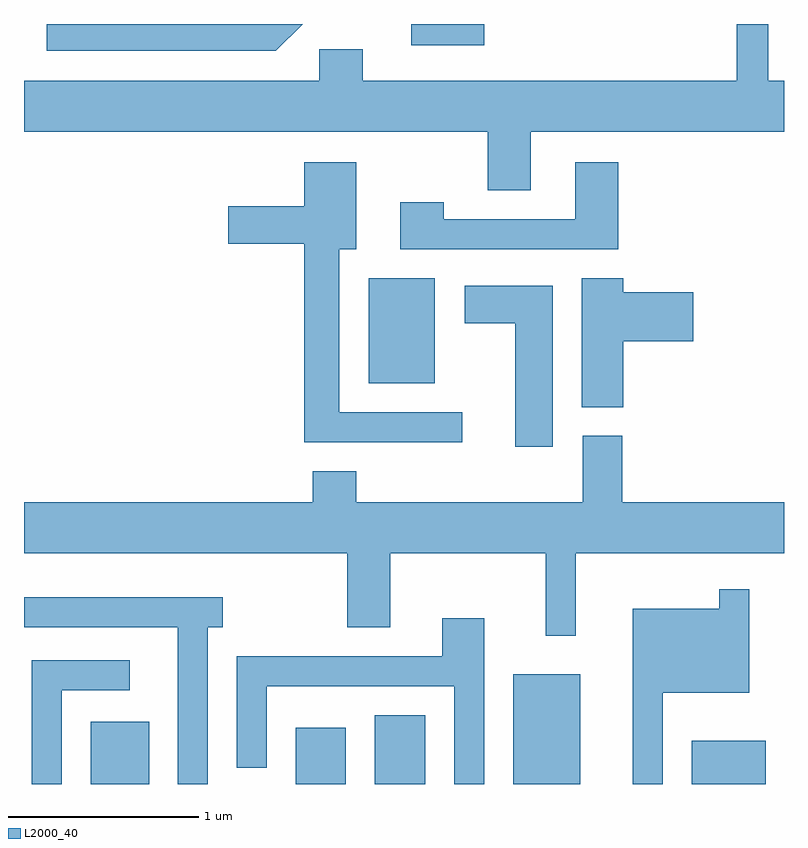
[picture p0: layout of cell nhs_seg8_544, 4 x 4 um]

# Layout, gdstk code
import gdstk
lib = gdstk.Library(unit=1e-6, precision=1e-09)
def R(c, l, rs):  # rectangles x0, y0, x1, y1
    for r in rs: c.add(gdstk.rectangle(r[:2], r[2:], *l))
def P(c, l, *ps):  # polygons
    for p in ps: c.add(gdstk.Polygon(p, *l))
L2000_40 = (2000, 40)

nhs_seg8_544 = lib.new_cell('nhs_seg8_544')
R(nhs_seg8_544, L2000_40, [(201.961,1806.342,202.269,1806.669), (203.041,1806.342,203.304,1806.639), (203.456,1806.342,203.724,1806.704), (204.186,1806.342,204.539,1806.919), (205.126,1806.342,205.514,1806.569), (203.426,1808.451,203.774,1809.004), (203.648,1810.231,204.034,1810.342)])
P(nhs_seg8_544, L2000_40, [(204.279,1809.776),(205.611,1809.776),(205.611,1810.044),(205.529,1810.044),(205.529,1810.342),(205.361,1810.342),(205.361,1810.044),(203.394,1810.044),(203.394,1810.209),(203.166,1810.209),(203.166,1810.044),(201.611,1810.044),(201.611,1809.776),(204.051,1809.776),(204.051,1809.466),(204.279,1809.466)],
  [(203.078,1810.342),(201.731,1810.342),(201.731,1810.201),(202.937,1810.201)],
  [(204.739,1809.614),(204.511,1809.614),(204.511,1809.314),(203.819,1809.314),(203.819,1809.404),(203.591,1809.404),(203.591,1809.156),(204.739,1809.156)],
  [(203.918,1808.299),(203.269,1808.299),(203.269,1809.156),(203.359,1809.156),(203.359,1809.614),(203.086,1809.614),(203.086,1809.384),(202.686,1809.384),(202.686,1809.186),(203.086,1809.186),(203.086,1808.141),(203.918,1808.141)],
  [(204.764,1808.671),(205.134,1808.671),(205.134,1808.929),(204.764,1808.929),(204.764,1809.004),(204.546,1809.004),(204.546,1808.326),(204.764,1808.326)],
  [(204.394,1808.964),(203.931,1808.964),(203.931,1808.766),(204.196,1808.766),(204.196,1808.116),(204.394,1808.116)],
  [(204.514,1807.556),(205.611,1807.556),(205.611,1807.824),(204.759,1807.824),(204.759,1808.174),(204.551,1808.174),(204.551,1807.824),(203.359,1807.824),(203.359,1807.989),(203.131,1807.989),(203.131,1807.824),(201.611,1807.824),(201.611,1807.556),(203.311,1807.556),(203.311,1807.166),(203.539,1807.166),(203.539,1807.556),(204.356,1807.556),(204.356,1807.123),(204.514,1807.123)],
  [(204.974,1806.821),(205.429,1806.821),(205.429,1807.368),(205.271,1807.368),(205.271,1807.264),(204.816,1807.264),(204.816,1806.342),(204.974,1806.342)],
  [(202.579,1807.166),(202.658,1807.166),(202.658,1807.324),(201.611,1807.324),(201.611,1807.166),(202.421,1807.166),(202.421,1806.342),(202.579,1806.342)],
  [(204.034,1807.214),(203.811,1807.214),(203.811,1807.014),(202.731,1807.014),(202.731,1806.428),(202.889,1806.428),(202.889,1806.856),(203.876,1806.856),(203.876,1806.342),(204.034,1806.342)],
  [(201.809,1806.836),(202.168,1806.836),(202.168,1806.994),(201.651,1806.994),(201.651,1806.342),(201.809,1806.342)])

lib.write_gds('nhs_seg8_544.gds')
